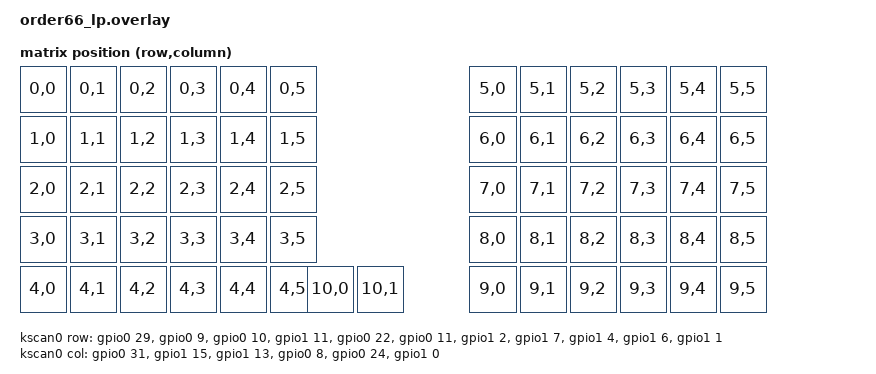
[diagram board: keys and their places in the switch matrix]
/*
 * order66-lp: 5x12 Kailh Choc v1 ortholinear, split by a 54 mm central
 * band, plus two dedicated mouse buttons beside a Cirque trackpad.
 *
 * GENERATED by tools/gen_overlay.py from the same NANO_NETS/el_pos() that build the
 * schematic -- edit those, not this file.
 *
 * SPDX-License-Identifier: MIT
 *
 * Matrix: 11 rows x 6 cols = 66 positions, 62 used.
 * Same 17 pins as a 5x12 but six more positions, which is what pays for the mouse
 * buttons. Electrical columns are shared by both halves; each half owns a block of
 * rows, so row nets stay local to one half instead of spanning the board:
 *
 *   left  half, physical cols 0-5   -> rows 0-4,  cols 0-5
 *   right half, physical cols 6-11  -> rows 5-9,  cols 0-5
 *   mouse buttons                   -> row 10,   cols 0-1
 *   spare                           -> row 10,   cols 2-5
 *
 * The physical layout is defined here rather than including ZMK's shared
 * layouts/common/ortho_5x12 -- that one has no central gap, and patching it is what
 * forced the v1.0 board's ZMK fork. A layout in our own module needs no fork.
 */

#include <dt-bindings/zmk/matrix_transform.h>
#include <physical_layouts.dtsi>

/ {
    chosen {
        zmk,kscan = &kscan0;
        zmk,physical-layout = &layout_order66_lp;
    };

    layout_order66_lp: layout_order66_lp {
        compatible = "zmk,physical-layout";
        display-name = "order66-lp";
        transform = <&matrix_transform_order66_lp>;

        keys  //                     w   h    x    y     rot    rx    ry
            = <&key_physical_attrs 100 100    0    0       0     0     0>
            , <&key_physical_attrs 100 100  100    0       0     0     0>
            , <&key_physical_attrs 100 100  200    0       0     0     0>
            , <&key_physical_attrs 100 100  300    0       0     0     0>
            , <&key_physical_attrs 100 100  400    0       0     0     0>
            , <&key_physical_attrs 100 100  500    0       0     0     0>
            , <&key_physical_attrs 100 100  900    0       0     0     0>
            , <&key_physical_attrs 100 100 1000    0       0     0     0>
            , <&key_physical_attrs 100 100 1100    0       0     0     0>
            , <&key_physical_attrs 100 100 1200    0       0     0     0>
            , <&key_physical_attrs 100 100 1300    0       0     0     0>
            , <&key_physical_attrs 100 100 1400    0       0     0     0>
            , <&key_physical_attrs 100 100    0  100       0     0     0>
            , <&key_physical_attrs 100 100  100  100       0     0     0>
            , <&key_physical_attrs 100 100  200  100       0     0     0>
            , <&key_physical_attrs 100 100  300  100       0     0     0>
            , <&key_physical_attrs 100 100  400  100       0     0     0>
            , <&key_physical_attrs 100 100  500  100       0     0     0>
            , <&key_physical_attrs 100 100  900  100       0     0     0>
            , <&key_physical_attrs 100 100 1000  100       0     0     0>
            , <&key_physical_attrs 100 100 1100  100       0     0     0>
            , <&key_physical_attrs 100 100 1200  100       0     0     0>
            , <&key_physical_attrs 100 100 1300  100       0     0     0>
            , <&key_physical_attrs 100 100 1400  100       0     0     0>
            , <&key_physical_attrs 100 100    0  200       0     0     0>
            , <&key_physical_attrs 100 100  100  200       0     0     0>
            , <&key_physical_attrs 100 100  200  200       0     0     0>
            , <&key_physical_attrs 100 100  300  200       0     0     0>
            , <&key_physical_attrs 100 100  400  200       0     0     0>
            , <&key_physical_attrs 100 100  500  200       0     0     0>
            , <&key_physical_attrs 100 100  900  200       0     0     0>
            , <&key_physical_attrs 100 100 1000  200       0     0     0>
            , <&key_physical_attrs 100 100 1100  200       0     0     0>
            , <&key_physical_attrs 100 100 1200  200       0     0     0>
            , <&key_physical_attrs 100 100 1300  200       0     0     0>
            , <&key_physical_attrs 100 100 1400  200       0     0     0>
            , <&key_physical_attrs 100 100    0  300       0     0     0>
            , <&key_physical_attrs 100 100  100  300       0     0     0>
            , <&key_physical_attrs 100 100  200  300       0     0     0>
            , <&key_physical_attrs 100 100  300  300       0     0     0>
            , <&key_physical_attrs 100 100  400  300       0     0     0>
            , <&key_physical_attrs 100 100  500  300       0     0     0>
            , <&key_physical_attrs 100 100  900  300       0     0     0>
            , <&key_physical_attrs 100 100 1000  300       0     0     0>
            , <&key_physical_attrs 100 100 1100  300       0     0     0>
            , <&key_physical_attrs 100 100 1200  300       0     0     0>
            , <&key_physical_attrs 100 100 1300  300       0     0     0>
            , <&key_physical_attrs 100 100 1400  300       0     0     0>
            , <&key_physical_attrs 100 100    0  400       0     0     0>
            , <&key_physical_attrs 100 100  100  400       0     0     0>
            , <&key_physical_attrs 100 100  200  400       0     0     0>
            , <&key_physical_attrs 100 100  300  400       0     0     0>
            , <&key_physical_attrs 100 100  400  400       0     0     0>
            , <&key_physical_attrs 100 100  500  400       0     0     0>
            , <&key_physical_attrs 100 100  900  400       0     0     0>
            , <&key_physical_attrs 100 100 1000  400       0     0     0>
            , <&key_physical_attrs 100 100 1100  400       0     0     0>
            , <&key_physical_attrs 100 100 1200  400       0     0     0>
            , <&key_physical_attrs 100 100 1300  400       0     0     0>
            , <&key_physical_attrs 100 100 1400  400       0     0     0>
            , <&key_physical_attrs 100 100  575  400       0     0     0>
            , <&key_physical_attrs 100 100  675  400       0     0     0>
            ;
    };

    matrix_transform_order66_lp: keymap_transform_0 {
        compatible = "zmk,matrix-transform";
        columns = <6>;
        rows = <11>;
        map = <
            RC(0,0) RC(0,1) RC(0,2) RC(0,3) RC(0,4) RC(0,5)   RC(5,0) RC(5,1) RC(5,2) RC(5,3) RC(5,4) RC(5,5)
            RC(1,0) RC(1,1) RC(1,2) RC(1,3) RC(1,4) RC(1,5)   RC(6,0) RC(6,1) RC(6,2) RC(6,3) RC(6,4) RC(6,5)
            RC(2,0) RC(2,1) RC(2,2) RC(2,3) RC(2,4) RC(2,5)   RC(7,0) RC(7,1) RC(7,2) RC(7,3) RC(7,4) RC(7,5)
            RC(3,0) RC(3,1) RC(3,2) RC(3,3) RC(3,4) RC(3,5)   RC(8,0) RC(8,1) RC(8,2) RC(8,3) RC(8,4) RC(8,5)
            RC(4,0) RC(4,1) RC(4,2) RC(4,3) RC(4,4) RC(4,5)   RC(9,0) RC(9,1) RC(9,2) RC(9,3) RC(9,4) RC(9,5)
            RC(10,0) RC(10,1)   // mouse buttons
            >;
    };

    kscan0: kscan {
        compatible = "zmk,kscan-gpio-matrix";
        wakeup-source;

        diode-direction = "col2row";

        row-gpios
            = <&gpio0 29 (GPIO_ACTIVE_HIGH | GPIO_PULL_DOWN)> // ROW0
            , <&gpio0 9 (GPIO_ACTIVE_HIGH | GPIO_PULL_DOWN)> // ROW1
            , <&gpio0 10 (GPIO_ACTIVE_HIGH | GPIO_PULL_DOWN)> // ROW2
            , <&gpio1 11 (GPIO_ACTIVE_HIGH | GPIO_PULL_DOWN)> // ROW3
            , <&gpio0 22 (GPIO_ACTIVE_HIGH | GPIO_PULL_DOWN)> // ROW4
            , <&gpio0 11 (GPIO_ACTIVE_HIGH | GPIO_PULL_DOWN)> // ROW5
            , <&gpio1 2 (GPIO_ACTIVE_HIGH | GPIO_PULL_DOWN)> // ROW6
            , <&gpio1 7 (GPIO_ACTIVE_HIGH | GPIO_PULL_DOWN)> // ROW7
            , <&gpio1 4 (GPIO_ACTIVE_HIGH | GPIO_PULL_DOWN)> // ROW8
            , <&gpio1 6 (GPIO_ACTIVE_HIGH | GPIO_PULL_DOWN)> // ROW9
            , <&gpio1 1 (GPIO_ACTIVE_HIGH | GPIO_PULL_DOWN)> // ROW10
            ;

        col-gpios
            = <&gpio0 31 GPIO_ACTIVE_HIGH> // COL0
            , <&gpio1 15 GPIO_ACTIVE_HIGH> // COL1
            , <&gpio1 13 GPIO_ACTIVE_HIGH> // COL2
            , <&gpio0 8 GPIO_ACTIVE_HIGH> // COL3
            , <&gpio0 24 GPIO_ACTIVE_HIGH> // COL4
            , <&gpio1 0 GPIO_ACTIVE_HIGH> // COL5
            ;
    };
};
